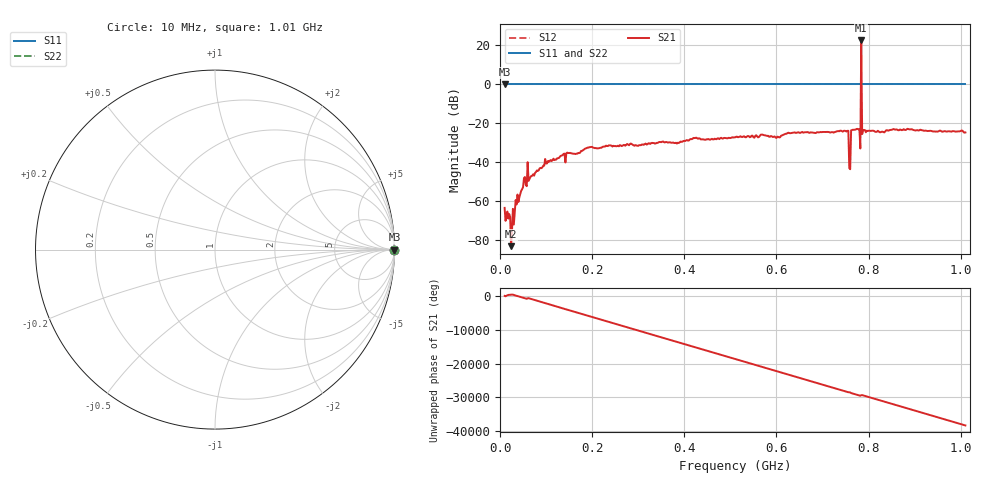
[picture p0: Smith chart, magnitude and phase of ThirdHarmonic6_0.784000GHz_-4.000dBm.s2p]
! 8/16/2025 2:09:36 AM
! C:\ANRITSUVNA\TEMP\TEMP.S2P
! CHANNEL.1
! TR.MEASUREMENT
! RAW.DATA
! RF.CORRECTION.OFF
! AVERAGING.OFF
! IF.BANDWIDTH: 5KHZ
! SWEEPTYPE:  FREQ.SWEEP(Linear)
! Reference Plane Port Info
! PORT:  PORT1  PORT2
! DISTANCE:  0  m  0  m
! TIME:  0  s  0  s
! PHASE.OFFSET:  0  deg.  0  deg.
! LOSS:  0  dB  0  dB
! REF.LOSS:  0  dB  0  dB
! REF.FREQ:  0  Hz  0  Hz
! Power Info
! POWER:  -20  dBm  -20  dBm
! EFF.POWER:  -20  dBm  -20  dBm
! SOURCE.ATTEN:  0  dB  0  dB
! TEST.ATTEN:  0  dB  0  dB
# GHZ S RI R 50.0
! FREQ.GHZ  S11RE  S11IM  S21RE  S21IM  S12RE  S12IM  S22RE  S22IM
!; PortSelection: Port_12
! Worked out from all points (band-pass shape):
!   501 points, 10 MHz to 1.01 GHz, reference 50 ohm
!   highest |S21| = 22.55 dB at 784 MHz (marker M1); lowest = -83.3 dB at 24 MHz (marker M2)
!   |S21| within 3 dB of the highest: 783.892 MHz to 784.1246 MHz (232.6 kHz wide, 0.0297 % of centre)
!   lowest |S11| = 0.0 dB at 10 MHz (marker M3)
!   |S11| at or under -10 dB: nowhere
!   |S22| runs from 0.0 to 0.0 dB; largest |S21 - S12| = 14
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0.01  1 0  -0.000656 0.000101  1 0  1 0
0.024  1 0  -5.6e-05 -3.97e-05  1 0  1 0
0.028  1 0  -0.000607 -0.000153  1 0  1 0
0.036  1 0  -0.000751 -0.000305  1 0  1 0
0.056  1 0  -0.000601 0.00255  1 0  1 0
0.066  1 0  0.00218 0.00351  1 0  1 0
0.102  1 0  0.00818 0.00424  1 0  1 0
0.178  1 0  -0.0188 -0.00441  1 0  1 0
0.344  1 0  0.0314 -0.00568  1 0  1 0
0.51  1 0  -0.0409 0.0135  1 0  1 0
0.678  1 0  -0.0242 -0.0522  1 0  1 0
0.752  1 0  -0.0512 0.0332  1 0  1 0
0.756  1 0  0.0617 -0.0156  1 0  1 0
0.762  1 0  -0.0157 0.0635  1 0  1 0
0.766  1 0  0.0361 -0.0576  1 0  1 0
0.778  1 0  -0.0689 0.00703  1 0  1 0
0.78  1 0  -0.00402 0.0704  1 0  1 0
0.784  1 0  -13.38 -0.9611  1 0  1 0
0.788  1 0  -0.0421 0.0521  1 0  1 0
0.79  1 0  0.0446 0.0496  1 0  1 0
0.844  1 0  0.0466 0.0448  1 0  1 0
1.01  1 0  -0.0552 -0.0168  1 0  1 0
